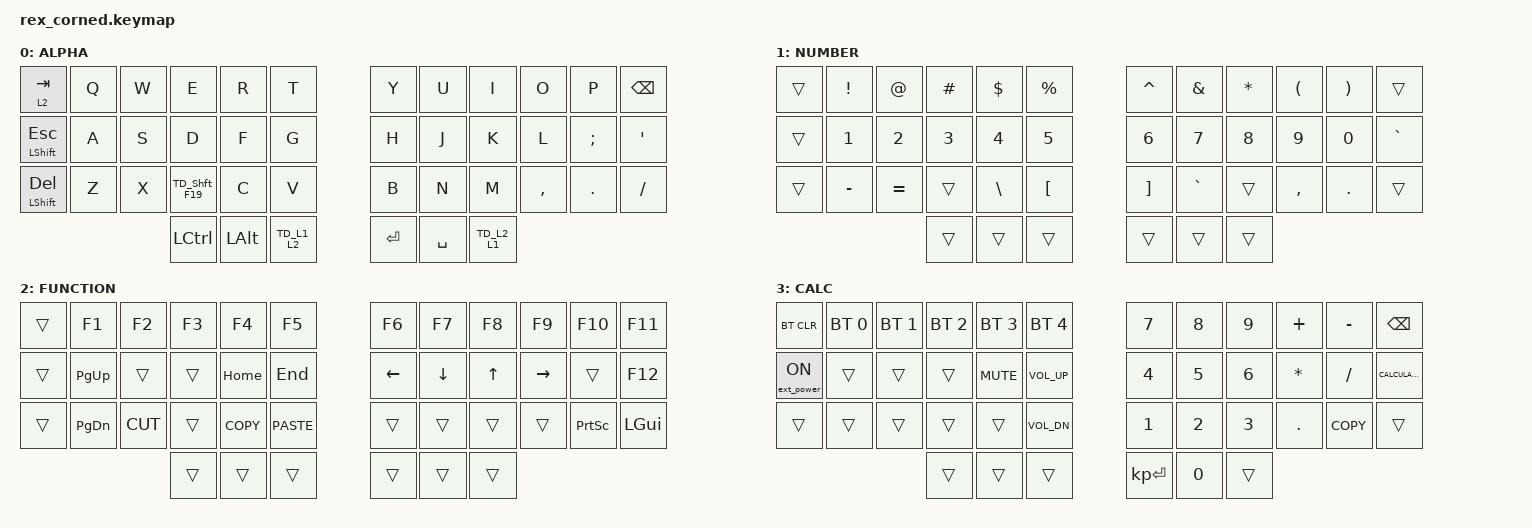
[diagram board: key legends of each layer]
#include <behaviors.dtsi>
#include <dt-bindings/zmk/bt.h>
#include <dt-bindings/zmk/ext_power.h>
#include <dt-bindings/zmk/keys.h>
#include <dt-bindings/zmk/outputs.h>

&led_strip { chain-length = <0>; };

/ {
    combos {
        compatible = "zmk,combos";

        TB_Backslash {
            bindings = <&kp BACKSLASH>;
            key-positions = <5 30>;
            layers = <0>;
        };

        YV_Forwardslash {
            bindings = <&kp SLASH>;
            key-positions = <29 6>;
            layers = <0>;
        };

        TV_Lparens {
            bindings = <&kp LEFT_PARENTHESIS>;
            key-positions = <4 5>;
            layers = <0>;
        };

        YB_RParens {
            bindings = <&kp RIGHT_PARENTHESIS>;
            key-positions = <6 7>;
            layers = <0>;
        };

        RT_LBrace {
            bindings = <&kp LEFT_BRACE>;
            key-positions = <28 29>;
            layers = <0>;
        };

        YU_RBrace {
            bindings = <&kp RIGHT_BRACE>;
            key-positions = <30 31>;
            layers = <0>;
        };

        FG_LBrack {
            bindings = <&kp LEFT_BRACKET>;
            key-positions = <16 17>;
            layers = <0>;
        };

        HJ_RBrack {
            bindings = <&kp RIGHT_BRACKET>;
            key-positions = <18 19>;
            layers = <0>;
        };

        JK_BCKSP {
            bindings = <&kp BACKSPACE>;
            key-positions = <19 20>;
            layers = <0>;
        };

        KL_DEL {
            bindings = <&kp DELETE>;
            key-positions = <20 21>;
            layers = <0>;
        };

        P_BCKSP_DEL {
            bindings = <&kp DELETE>;
            key-positions = <10 11>;
            layers = <0>;
        };

        GH_Dash {
            bindings = <&kp MINUS>;
            key-positions = <17 18>;
            layers = <0>;
        };

        VB_Under {
            bindings = <&kp UNDERSCORE>;
            key-positions = <29 30>;
            layers = <0>;
        };

        TY_Equals {
            bindings = <&kp EQUAL>;
            key-positions = <5 6>;
            layers = <0>;
        };

        TV_Lpoint {
            bindings = <&kp LESS_THAN>;
            key-positions = <5 29>;
            layers = <0>;
        };

        YB_Rpoint {
            bindings = <&kp GREATER_THAN>;
            key-positions = <6 30>;
            layers = <0>;
        };

        Num1 {
            bindings = <&kp NUMBER_1>;
            key-positions = <1 13>;
            layers = <0>;
        };

        Num2 {
            bindings = <&kp NUMBER_2>;
            key-positions = <2 14>;
            layers = <0>;
        };

        Num3 {
            bindings = <&kp NUMBER_3>;
            key-positions = <3 15>;
            layers = <0>;
        };

        Num4 {
            bindings = <&kp NUMBER_4>;
            key-positions = <4 16>;
            layers = <0>;
        };

        Num5 {
            bindings = <&kp N5>;
            key-positions = <5 17>;
            layers = <0>;
        };

        Num6 {
            bindings = <&kp NUMBER_6>;
            key-positions = <6 18>;
            layers = <0>;
        };

        Num7 {
            bindings = <&kp N7>;
            key-positions = <7 19>;
            layers = <0>;
        };

        Num8 {
            bindings = <&kp N8>;
            key-positions = <8 20>;
            layers = <0>;
        };

        Num9 {
            bindings = <&kp N9>;
            key-positions = <9 21>;
            layers = <0>;
        };

        Num0 {
            bindings = <&kp N0>;
            key-positions = <10 22>;
            layers = <0>;
        };

        Sym_Exc {
            bindings = <&kp EXCLAMATION>;
            key-positions = <13 25>;
            layers = <0>;
        };

        Sym_At {
            bindings = <&kp AT_SIGN>;
            key-positions = <26 14>;
            layers = <0>;
        };

        Sym_Hash {
            bindings = <&kp HASH>;
            key-positions = <15 27>;
            layers = <0>;
        };

        Sym_Dollar {
            bindings = <&kp DOLLAR>;
            key-positions = <16 28>;
            layers = <0>;
        };

        Sym_Perc {
            bindings = <&kp PERCENT>;
            key-positions = <17 29>;
            layers = <0>;
        };

        Sym_Carot {
            bindings = <&kp CARET>;
            key-positions = <18 30>;
            layers = <0>;
        };

        Sym_Amp {
            bindings = <&kp AMPERSAND>;
            key-positions = <19 31>;
            layers = <0>;
        };

        Sym_Ast {
            bindings = <&kp ASTERISK>;
            key-positions = <20 32>;
            layers = <0>;
        };

        Sym_LParens {
            bindings = <&kp LEFT_PARENTHESIS>;
            key-positions = <21 33>;
            layers = <0>;
        };

        Sym_RParens {
            bindings = <&kp RIGHT_PARENTHESIS>;
            key-positions = <22 34>;
            layers = <0>;
        };

        Sym_Dash {
            bindings = <&kp MINUS>;
            key-positions = <23 35>;
            layers = <0>;
        };

        Next_win {
            bindings = <&kp LA(TAB)>;
            key-positions = <3 4>;
            layers = <0>;
        };

        Next_tab {
            bindings = <&kp LC(TAB)>;
            key-positions = <3 2>;
            layers = <0>;
        };

        L_bootl {
            bindings = <&bootloader>;
            key-positions = <0 12 24>;
            layers = <0>;
        };

        R_bootl {
            bindings = <&bootloader>;
            key-positions = <11 35 23>;
            layers = <0>;
        };

        Output_toggle {
            bindings = <&out OUT_TOG>;
            key-positions = <10 22 34>;
            layers = <0>;
        };
    };

    behaviors {
        TD_Shft_F19: TD_Shft_F19 {
            compatible = "zmk,behavior-tap-dance";
            label = "TD_SHFT_F19";
            #binding-cells = <0>;
            bindings = <&kp LEFT_SHIFT>, <&kp F19>;
        };

        TD_L1_L2: TD_L1_L2 {
            compatible = "zmk,behavior-tap-dance";
            label = "TD_L1_L2";
            #binding-cells = <0>;
            bindings = <&mo 1>, <&mo 2>;
        };

        TD_L2_L1: TD_L2_L1 {
            compatible = "zmk,behavior-tap-dance";
            label = "TD_L2_L1";
            #binding-cells = <0>;
            bindings = <&mo 2>, <&mo 1>;
        };

        TD_tab_shift: TD_tab_shift {
            compatible = "zmk,behavior-hold-tap";
            label = "TD_TAB_SHIFT";
            bindings = <&kp>, <&kp>;

            #binding-cells = <2>;
            tapping-term-ms = <200>;
        };

        TD_layer_tap: TD_layer_tap {
            compatible = "zmk,behavior-hold-tap";
            label = "TD_LAYER_TAP";
            bindings = <&mo>, <&kp>;

            #binding-cells = <2>;
            tapping-term-ms = <200>;
        };
    };

    keymap {
        compatible = "zmk,keymap";

        Alpha {
            // -----------------------------------------------------------------------------------------
            // |  TAB |  Q  |  W  |  E  |  R  |  T  |   |  Y  |  U   |  I  |  O  |  P  | BKSP |
            // | CTRL |  A  |  S  |  D  |  F  |  G  |   |  H  |  J   |  K  |  L  |  ;  |  '   |
            // | SHFT |  Z  |  X  |  C  |  V  |  B  |   |  N  |  M   |  ,  |  .  |  /  | ESC  |
            //                    | GUI | LWR | SPC |   | ENT | RSE  | ALT |

            label = "ALPHA";
            bindings = <
&TD_layer_tap 2 TAB              &kp Q  &kp W  &kp E         &kp R         &kp T        &kp Y    &kp U      &kp I      &kp O      &kp P     &kp BSPC
&TD_tab_shift LEFT_SHIFT ESC     &kp A  &kp S  &kp D         &kp F         &kp G        &kp H    &kp J      &kp K      &kp L      &kp SEMI  &kp SQT
&TD_tab_shift LEFT_SHIFT DELETE  &kp Z  &kp X  &TD_Shft_F19  &kp C         &kp V        &kp B    &kp N      &kp M      &kp COMMA  &kp DOT   &kp SLASH
                                               &kp LCTRL     &kp LEFT_ALT  &TD_L1_L2    &kp RET  &kp SPACE  &TD_L2_L1
            >;
        };

        Number {
            // -----------------------------------------------------------------------------------------
            // |  TAB |  1  |  2  |  3  |  4  |  5  |   |  6  |  7  |  8  |  9  |  0  | BKSP |
            // | BTCLR| BT1 | BT2 | BT3 | BT4 | BT5 |   | LFT | DWN |  UP | RGT |     |      |
            // | SHFT |     |     |     |     |     |   |     |     |     |     |     |      |
            //                    | GUI |     | SPC |   | ENT |     | ALT |

            label = "NUMBER";
            bindings = <
&trans  &kp EXCLAMATION  &kp AT_SIGN  &kp HASH  &kp DOLLAR     &kp PERCENT         &kp CARET          &kp AMPERSAND  &kp ASTERISK  &kp LEFT_PARENTHESIS  &kp RIGHT_PARENTHESIS  &trans
&trans  &kp N1           &kp N2       &kp N3    &kp N4         &kp N5              &kp N6             &kp N7         &kp N8        &kp N9                &kp N0                 &kp GRAVE
&trans  &kp MINUS        &kp EQUAL    &trans    &kp BACKSLASH  &kp LEFT_BRACKET    &kp RIGHT_BRACKET  &kp GRAVE      &trans        &kp COMMA             &kp PERIOD             &trans
                                      &trans    &trans         &trans              &trans             &trans         &trans
            >;
        };

        Function {
            // -----------------------------------------------------------------------------------------
            // |  TAB |  !  |  @  |  #  |  $  |  %  |   |  ^  |  &  |  *  |  (  |  )  | BKSP |
            // | CTRL |     |     |     |     |     |   |  -  |  =  |  [  |  ]  |  \  |  `   |
            // | SHFT |     |     |     |     |     |   |  _  |  +  |  {  |  }  | "|" |  ~   |
            //                    | GUI |     | SPC |   | ENT |     | ALT |

            label = "FUNCTION";
            bindings = <
&trans  &kp F1         &kp F2     &kp F3  &kp F4      &kp F5         &kp F6          &kp F7    &kp F8        &kp F9     &kp F10          &kp F11
&trans  &kp PAGE_UP    &trans     &trans  &kp HOME    &kp END        &kp LEFT_ARROW  &kp DOWN  &kp UP_ARROW  &kp RIGHT  &trans           &kp F12
&trans  &kp PAGE_DOWN  &kp K_CUT  &trans  &kp K_COPY  &kp K_PASTE    &trans          &trans    &trans        &trans     &kp PRINTSCREEN  &kp LEFT_GUI
                                  &trans  &trans      &trans         &trans          &trans    &trans
            >;
        };

        Calc {
            label = "CALC";
            bindings = <
&bt BT_CLR        &bt BT_SEL 0  &bt BT_SEL 1  &bt BT_SEL 2  &bt BT_SEL 3  &bt BT_SEL 4       &kp N7        &kp N8  &kp N9  &kp PLUS      &kp MINUS   &kp BSPC
&ext_power EP_ON  &trans        &trans        &trans        &kp C_MUTE    &kp C_VOLUME_UP    &kp N4        &kp N5  &kp N6  &kp ASTERISK  &kp FSLH    &kp K_CALCULATOR
&trans            &trans        &trans        &trans        &trans        &kp C_VOL_DN       &kp N1        &kp N2  &kp N3  &kp PERIOD    &kp K_COPY  &trans
                                              &trans        &trans        &trans             &kp KP_ENTER  &kp N0  &trans
            >;
        };
    };

    conditional_layers {
        compatible = "zmk,conditional-layers";

        Both_3 {
            if-layers = <1 2>;
            then-layer = <3>;
        };
    };
};
